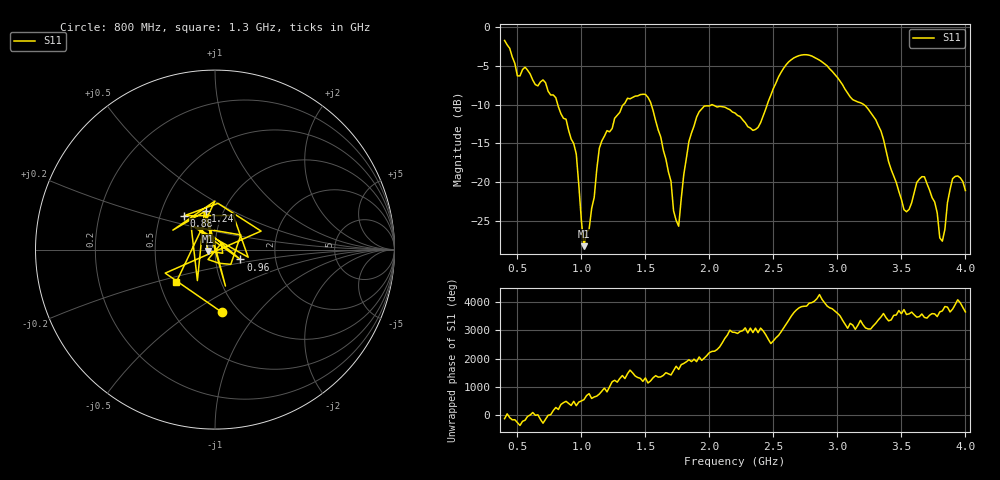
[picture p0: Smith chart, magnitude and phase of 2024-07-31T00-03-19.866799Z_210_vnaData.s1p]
!Created with skrf (http://scikit-rf.org).
# Hz S RI R 50.0
!freq ReS11 ImS11
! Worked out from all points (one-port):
!   181 points, 400 MHz to 4 GHz, reference 50 ohm
!   lowest |S11| = -28.3 dB at 1.02 GHz (marker M1), VSWR 1.08, Z = 46.4 - j0.73 ohm
!   |S11| at or under -10 dB: 815.5 MHz to 1.327 GHz (511.9 MHz wide, 47.8 % of centre); 1.546 GHz to 2.018 GHz (471.4 MHz wide, 26.5 % of centre); 3.208 GHz to end of sweep (the widest 3 of 4)
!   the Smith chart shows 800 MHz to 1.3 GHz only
!   S11 on the Smith chart (normalised r, x): 800 MHz: 0.84, -0.67; 880 MHz: 0.66, +0.27; 960 MHz: 1.32, -0.15; 1.24 GHz: 0.83, +0.37; 1.3 GHz: 0.61, -0.24
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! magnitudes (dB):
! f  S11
! 400 MHz  -1.7
! 500 MHz  -6.3
! 560 MHz  -5.1
! 800 MHz  -9.1
! 860 MHz  -11.8
! 880 MHz  -11.9
! 960 MHz  -16.4
! 1.02 GHz  -28.3
! 1.1 GHz  -22.0
! 1.14 GHz  -15.6
! 1.24 GHz  -13.1
! 1.3 GHz  -11.0
! 1.54 GHz  -9.7
! 1.76 GHz  -25.7
! 1.84 GHz  -14.7
! 1.92 GHz  -10.9
! 2.2 GHz  -11.1
! 2.38 GHz  -12.9
! 2.66 GHz  -3.9
! 2.86 GHz  -4.2
! 3.1 GHz  -9.0
! 3.3 GHz  -12.0
! 3.52 GHz  -23.6
! 3.56 GHz  -23.5
! 3.68 GHz  -19.3
! 3.82 GHz  -27.6
! 3.9 GHz  -19.6
! 4 GHz  -21.1
